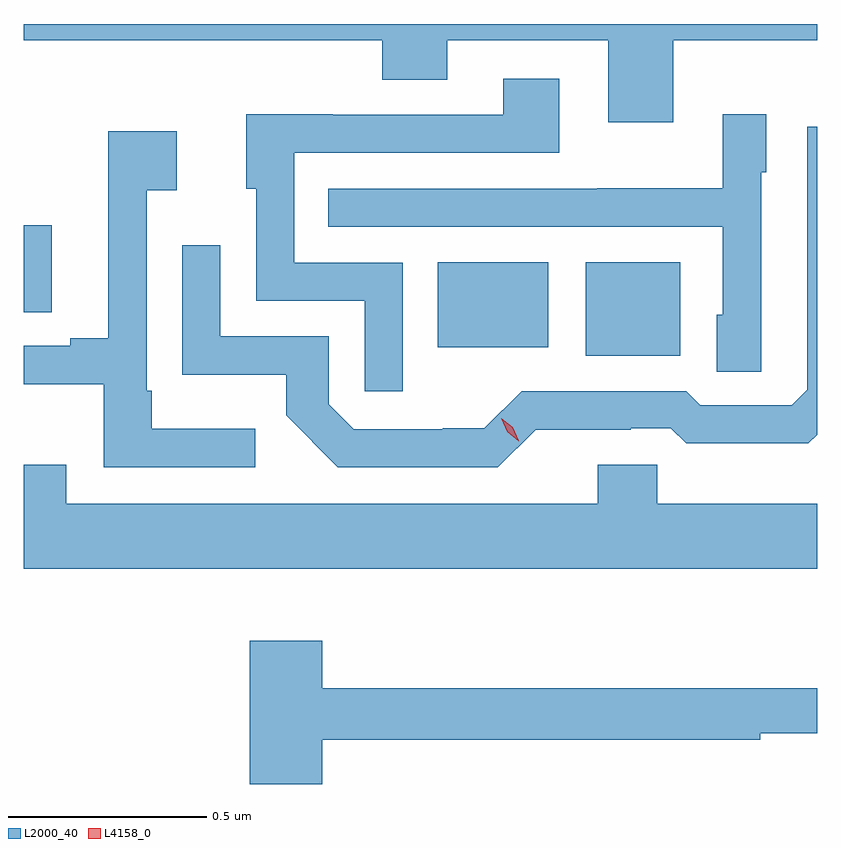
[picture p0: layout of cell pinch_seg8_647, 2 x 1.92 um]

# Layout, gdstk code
import gdstk
lib = gdstk.Library(unit=1e-6, precision=1e-09)
def R(c, l, rs):  # rectangles x0, y0, x1, y1
    for r in rs: c.add(gdstk.rectangle(r[:2], r[2:], *l))
def P(c, l, *ps):  # polygons
    for p in ps: c.add(gdstk.Polygon(p, *l))
L2000_40 = (2000, 40)
L4158_0 = (4158, 0)

pinch_seg8_647 = lib.new_cell('pinch_seg8_647')
R(pinch_seg8_647, L2000_40, [(227.45,1101.053,227.689,1101.289), (227.078,1101.074,227.356,1101.289), (226.034,1101.163,226.105,1101.382)])
P(pinch_seg8_647, L2000_40, [(227.671,1101.848),(228.034,1101.848),(228.034,1101.889),(226.034,1101.889),(226.034,1101.848),(226.937,1101.848),(226.937,1101.749),(227.101,1101.749),(227.101,1101.848),(227.507,1101.848),(227.507,1101.642),(227.671,1101.642)],
  [(226.989,1101.288),(226.716,1101.288),(226.716,1101.564),(227.383,1101.564),(227.383,1101.751),(227.243,1101.751),(227.243,1101.66),(226.813,1101.66),(226.813,1101.662),(226.595,1101.662),(226.595,1101.474),(226.62,1101.474),(226.62,1101.192),(226.893,1101.192),(226.893,1100.964),(226.989,1100.964)],
  [(227.892,1101.516),(227.905,1101.516),(227.905,1101.661),(227.796,1101.661),(227.796,1101.475),(227.479,1101.475),(227.479,1101.474),(226.801,1101.474),(226.801,1101.378),(227.796,1101.378),(227.796,1101.156),(227.78,1101.156),(227.78,1101.013),(227.892,1101.013)],
  [(227.324,1100.867),(227.564,1100.867),(227.564,1100.871),(227.664,1100.871),(227.704,1100.832),(228.011,1100.832),(228.034,1100.854),(228.034,1101.63),(228.009,1101.63),(228.009,1100.967),(227.97,1100.928),(227.739,1100.928),(227.703,1100.964),(227.289,1100.964),(227.195,1100.87),(227.09,1100.87),(227.09,1100.868),(226.866,1100.868),(226.803,1100.931),(226.803,1101.102),(226.53,1101.102),(226.53,1101.331),(226.434,1101.331),(226.434,1101.005),(226.696,1101.005),(226.696,1100.903),(226.826,1100.772),(227.229,1100.772)],
  [(226.618,1100.869),(226.357,1100.869),(226.357,1100.965),(226.344,1100.965),(226.344,1101.47),(226.42,1101.47),(226.42,1101.619),(226.247,1101.619),(226.247,1101.097),(226.151,1101.097),(226.151,1101.078),(226.034,1101.078),(226.034,1100.981),(226.236,1100.981),(226.236,1100.772),(226.618,1100.772)],
  [(228.034,1100.68),(227.631,1100.68),(227.631,1100.778),(227.48,1100.778),(227.48,1100.68),(226.141,1100.68),(226.141,1100.779),(226.034,1100.779),(226.034,1100.516),(228.034,1100.516)],
  [(226.787,1100.086),(227.89,1100.086),(227.89,1100.102),(228.034,1100.102),(228.034,1100.215),(226.787,1100.215),(226.787,1100.335),(226.604,1100.335),(226.604,1099.974),(226.787,1099.974)])
P(pinch_seg8_647, L4158_0, [(227.282,1100.838),(227.252,1100.861),(227.237,1100.895),(227.237,1100.895),(227.237,1100.895),(227.267,1100.873),(227.282,1100.839),(227.282,1100.838)])

lib.write_gds('pinch_seg8_647.gds')
